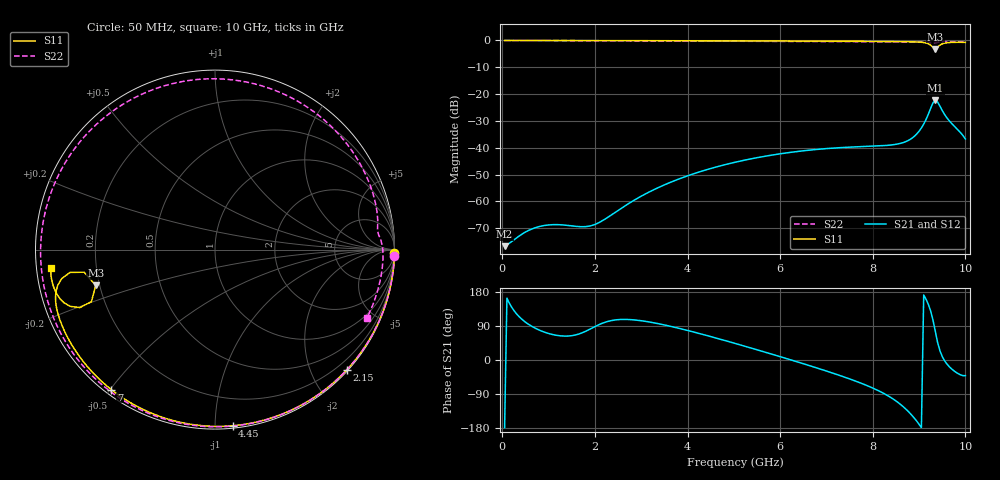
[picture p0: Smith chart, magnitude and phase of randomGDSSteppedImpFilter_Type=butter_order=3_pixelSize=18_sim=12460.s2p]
! freq	dB(S11)	phase(S11)	dB(S12)	phase(S12)
!  dB(S21)	phase(S21)	dB(S22)	phase(S22)
!S-par simulation data
#  GHz  S  DB  R 50
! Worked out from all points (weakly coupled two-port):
!   200 points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, 50 MHz to 10 GHz, reference 50 ohm
!   highest |S21| = -22.26 dB at 9.35 GHz (marker M1); lowest = -76.6 dB at 50 MHz (marker M2)
!   lowest |S11| = -3.2 dB at 9.35 GHz (marker M3), VSWR 5.53, Z = 9.23 - j7.09 ohm
!   |S11| at or under -10 dB: nowhere
!   |S22| runs from -0.8 to 0.0 dB; largest |S21 - S12| = 0
!   S11 on the Smith chart (normalised r, x): 50 MHz: open; 2.15 GHz: 0.02, -2.58; 4.45 GHz: 0.02, -1.11; 7 GHz: 0.02, -0.50; 10 GHz: 0.04, -0.06
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0.05  -0.00 -1.0  -76.64 -178.6  -76.64 -178.6  -0.00 -2.0
0.8  -0.02 -16.1  -69.32 78.8  -69.32 78.8  -0.03 -31.2
1.75  -0.04 -34.7  -69.40 73.0  -69.40 73.0  -0.08 -66.8
2.15  -0.05 -42.4  -67.28 96.5  -67.28 96.5  -0.10 -81.1
2.75  -0.07 -53.8  -60.53 106.7  -60.53 106.7  -0.12 -101.9
3.4  -0.09 -65.7  -54.57 95.1  -54.57 95.1  -0.15 -123.7
4.45  -0.12 -84.3  -47.96 63.5  -47.96 63.5  -0.21 -158.3
5.05  -0.14 -94.5  -45.28 43.0  -45.28 43.0  -0.25 -178.3
5.85  -0.18 -107.8  -42.63 14.4  -42.63 14.4  -0.30 153.7
6.7  -0.24 -121.6  -40.75 -17.4  -40.75 -17.4  -0.37 121.4
7  -0.26 -126.5  -40.29 -29.1  -40.29 -29.1  -0.39 109.2
7.7  -0.32 -137.9  -39.59 -59.0  -39.59 -59.0  -0.45 79.2
8.35  -0.39 -148.9  -39.03 -96.0  -39.03 -96.0  -0.50 49.7
8.65  -0.44 -154.4  -38.09 -122.4  -38.09 -122.4  -0.53 35.8
8.9  -0.53 -159.7  -35.67 -153.9  -35.67 -153.9  -0.57 24.2
9.05  -0.67 -163.8  -32.60 -178.6  -32.60 -178.6  -0.61 17.3
9.2  -1.22 -169.3  -27.46 146.9  -27.46 146.9  -0.71 10.5
9.3  -2.62 -170.2  -23.23 105.4  -23.23 105.4  -0.80 6.7
9.35  -3.18 -163.3  -22.26 75.3  -22.26 75.3  -0.77 5.2
9.4  -2.53 -157.1  -22.91 46.3  -22.91 46.3  -0.67 3.2
9.5  -1.26 -158.5  -26.10 9.3  -26.10 9.3  -0.57 -1.7
10  -0.71 -173.5  -36.70 -41.4  -36.70 -41.4  -0.65 -24.2
